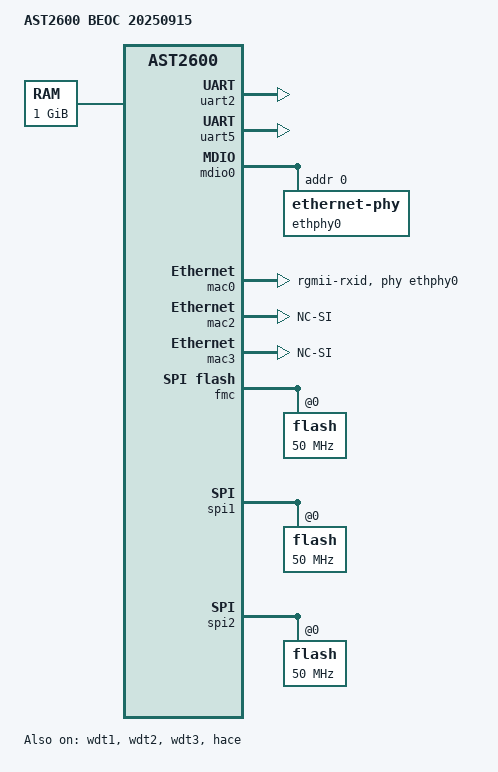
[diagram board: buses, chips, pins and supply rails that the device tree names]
/dts-v1/;

#include "ast2600-u-boot.dtsi"

/ {
	model = "AST2600 BEOC 20250915";
	compatible = "aspeed,ast2600-evb", "aspeed,ast2600";

	memory {
		device_type = "memory";
		reg = <0x80000000 0x40000000>;
	};

	chosen {
		stdout-path = &uart5;
	};

	aliases {
		spi0 = &fmc;
		spi1 = &spi1;
		spi2 = &spi2;
		ethernet0 = &mac0;
	};

	cpus {
		cpu@0 {
			clock-frequency = <800000000>;
		};
		cpu@1 {
			clock-frequency = <800000000>;
		};
	};
};

&uart2 {
	status = "okay";
};

&uart5 {
	bootph-all;
	status = "okay";
};

&sdrammc {
	clock-frequency = <400000000>;
};

&wdt1 {
	status = "okay";
};

&wdt2 {
	status = "okay";
};

&wdt3 {
	status = "okay";
};

&mdio0 {
    status = "okay";
    #address-cells = <1>;
    #size-cells = <0>;
    ethphy0: ethernet-phy@0 {
        reg = <0>;
    };
};

&mac0 {
	status = "okay";
	phy-mode = "rgmii-rxid";
	phy-handle = <&ethphy0>;
	pinctrl-names = "default";
	pinctrl-0 = <&pinctrl_rgmii1_default>;
};

// Conflict at S8261 as it is PHY.
&mac2 {
    status = "okay";
    phy-mode = "NC-SI";
    use-ncsi;
    pinctrl-names = "default";
    pinctrl-0 = <&pinctrl_rmii3_default>;
    /delete-property/phy-handle;
};

&mac3 {
    status = "okay";
    phy-mode = "NC-SI";
    use-ncsi;
    pinctrl-names = "default";
    pinctrl-0 = <&pinctrl_rmii4_default>;
    /delete-property/phy-handle;
};

// BMC FLASH
&fmc {
	status = "okay";
	pinctrl-names = "default";
	pinctrl-0 = <&pinctrl_fmcquad_default>;

	flash@0 {
		status = "okay";
		spi-max-frequency = <50000000>;
		spi-tx-bus-width = <4>;
		spi-rx-bus-width = <4>;
	};
};

// FPGA and BIOS FLASH
&spi1 {
        status = "okay";

        pinctrl-names = "default";
        pinctrl-0 = <&pinctrl_spi1_default &pinctrl_spi1quad_default>;

        flash@0 {
                status = "okay";
                spi-max-frequency = <50000000>;
                spi-tx-bus-width = <4>;
                spi-rx-bus-width = <4>;
        };
};

&spi2 {
        status = "okay";

        pinctrl-names = "default";
        pinctrl-0 = <&pinctrl_spi2_default &pinctrl_spi2quad_default>;

        flash@0 {
                status = "okay";
                spi-max-frequency = <50000000>;
                spi-tx-bus-width = <4>;
                spi-rx-bus-width = <4>;
        };
};

&emmc {
	bootph-all;
	timing-phase = <0x000f0097>;
};

&pcie_phy1 {
        status = "disabled";
};

&pcie_bridge {
	status = "disabled";
};

&ehci1 {
	status = "disabled";
};

&display_port {
	status = "disabled";
};

&scu {
 	mac3-clk-delay = <0x0a 0x04
 			  0x08 0x04
 			  0x08 0x04>;
	mac0-clk-delay = <0x10 0x0a
			  0x10 0x10
			  0x10 0x10>;
};

&hace {
	bootph-all;
	status = "okay";
};

&acry {
	bootph-all;
	status = "disabled";
};
